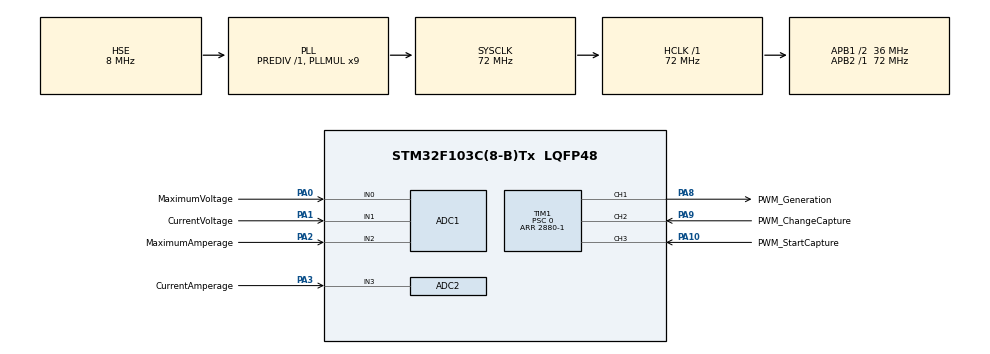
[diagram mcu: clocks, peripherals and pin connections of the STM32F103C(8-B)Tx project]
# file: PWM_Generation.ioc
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ADC1.Channel-0\#ChannelRegularConversion=ADC_CHANNEL_0
ADC1.Channel-1\#ChannelRegularConversion=ADC_CHANNEL_1
ADC1.Channel-2\#ChannelRegularConversion=ADC_CHANNEL_2
ADC1.ContinuousConvMode=ENABLE
ADC1.NbrOfConversion=3
ADC1.NbrOfConversionFlag=1
ADC1.Rank-0\#ChannelRegularConversion=1
ADC1.Rank-1\#ChannelRegularConversion=2
ADC1.Rank-2\#ChannelRegularConversion=3
ADC1.SamplingTime-0\#ChannelRegularConversion=ADC_SAMPLETIME_7CYCLES_5
ADC1.SamplingTime-1\#ChannelRegularConversion=ADC_SAMPLETIME_13CYCLES_5
ADC1.SamplingTime-2\#ChannelRegularConversion=ADC_SAMPLETIME_28CYCLES_5
ADC1.master=1
ADC2.Channel-1\#ChannelRegularConversion=ADC_CHANNEL_3
ADC2.Channel-2\#ChannelRegularConversion=ADC_CHANNEL_3
ADC2.Channel-3\#ChannelRegularConversion=ADC_CHANNEL_3
ADC2.ContinuousConvMode=ENABLE
ADC2.NbrOfConversion=3
ADC2.NbrOfConversionFlag=1
ADC2.Rank-1\#ChannelRegularConversion=1
ADC2.Rank-2\#ChannelRegularConversion=2
ADC2.Rank-3\#ChannelRegularConversion=3
ADC2.SamplingTime-1\#ChannelRegularConversion=ADC_SAMPLETIME_1CYCLE_5
ADC2.SamplingTime-2\#ChannelRegularConversion=ADC_SAMPLETIME_1CYCLE_5
ADC2.SamplingTime-3\#ChannelRegularConversion=ADC_SAMPLETIME_1CYCLE_5
Mcu.Family=STM32F1
Mcu.Name=STM32F103C(8-B)Tx
Mcu.Package=LQFP48
NVIC.PriorityGroup=NVIC_PRIORITYGROUP_4
NVIC.TIM1_BRK_IRQn=true\:0\:0\:false\:false\:true\:true\:true\:true
NVIC.TIM1_CC_IRQn=true\:0\:0\:false\:false\:true\:true\:true\:true
NVIC.TIM1_TRG_COM_IRQn=true\:0\:0\:false\:false\:true\:true\:true\:true
NVIC.TIM1_UP_IRQn=true\:0\:0\:false\:false\:true\:true\:true\:true
PA0-WKUP.GPIO_Label=MaximumVoltage
PA0-WKUP.Signal=ADCx_IN0
PA1.GPIO_Label=CurrentVoltage
PA1.Signal=ADCx_IN1
PA10.GPIO_Label=PWM_StartCapture
PA10.GPIO_PuPd=GPIO_PULLDOWN
PA10.Signal=S_TIM1_CH3
PA13.Mode=Serial_Wire
PA13.Signal=SYS_JTMS-SWDIO
PA14.Mode=Serial_Wire
PA14.Signal=SYS_JTCK-SWCLK
PA2.GPIO_Label=MaximumAmperage
PA2.Signal=ADCx_IN2
PA3.GPIO_Label=CurrentAmperage
PA3.Signal=ADCx_IN3
PA8.GPIO_Label=PWM_Generation
PA8.GPIO_Speed=GPIO_SPEED_FREQ_HIGH
PA8.Signal=S_TIM1_CH1
PA9.GPIO_Label=PWM_ChangeCapture
PA9.GPIO_PuPd=GPIO_PULLDOWN
PA9.Signal=S_TIM1_CH2
PD0-OSC_IN.Mode=HSE-External-Oscillator
PD0-OSC_IN.Signal=RCC_OSC_IN
PD1-OSC_OUT.Mode=HSE-External-Oscillator
PD1-OSC_OUT.Signal=RCC_OSC_OUT
ProjectManager.HeapSize=0x200
ProjectManager.StackSize=0x400
ProjectManager.TargetToolchain=STM32CubeIDE
RCC.ADCPresc=RCC_ADCPCLK2_DIV6
RCC.AHBFreq_Value=72000000
RCC.APB1CLKDivider=RCC_HCLK_DIV2
RCC.APB1Freq_Value=36000000
RCC.APB1TimFreq_Value=72000000
RCC.APB2Freq_Value=72000000
RCC.APB2TimFreq_Value=72000000
RCC.HCLKFreq_Value=72000000
RCC.PLLMUL=RCC_PLL_MUL9
RCC.PLLSourceVirtual=RCC_PLLSOURCE_HSE
RCC.SYSCLKFreq_VALUE=72000000
RCC.SYSCLKSource=RCC_SYSCLKSOURCE_PLLCLK
RCC.USBFreq_Value=72000000
SH.ADCx_IN0.0=ADC1_IN0,IN0
SH.ADCx_IN1.0=ADC1_IN1,IN1
SH.ADCx_IN2.0=ADC1_IN2,IN2
SH.ADCx_IN3.0=ADC2_IN3,IN3
SH.S_TIM1_CH1.0=TIM1_CH1,PWM Generation1 CH1
SH.S_TIM1_CH2.0=TIM1_CH2,Input_Capture2_from_TI2
SH.S_TIM1_CH3.0=TIM1_CH3,Input_Capture3_from_TI3
TIM1.AutoReloadPreload=TIM_AUTORELOAD_PRELOAD_ENABLE
TIM1.Channel-Input_Capture2_from_TI2=TIM_CHANNEL_2
TIM1.Channel-Input_Capture3_from_TI3=TIM_CHANNEL_3
TIM1.Channel-PWM\ Generation1\ CH1=TIM_CHANNEL_1
TIM1.ICPolarity_CH2=TIM_INPUTCHANNELPOLARITY_FALLING
TIM1.OCFastMode_PWM-PWM\ Generation1\ CH1=TIM_OCFAST_ENABLE
TIM1.Period=2880-1
TIM1.Prescaler=0
TIM1.Pulse-PWM\ Generation1\ CH1=3600
TIM2.AutoReloadPreload=TIM_AUTORELOAD_PRELOAD_ENABLE
TIM2.Prescaler=72-1
VP_TIM1_VS_ClockSourceINT.Mode=Internal
VP_TIM2_VS_ClockSourceINT.Mode=Internal
board=custom

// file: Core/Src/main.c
/* USER CODE BEGIN Header */
/**
  ******************************************************************************
  * @file           : main.c
  * @brief          : Main program body
  ******************************************************************************
  * @attention
  *
  * <h2><center>&copy; Copyright (c) 2022 STMicroelectronics.
  * All rights reserved.</center></h2>
  *
  * This software component is licensed by ST under BSD 3-Clause license,
  * the "License"; You may not use this file except in compliance with the
  * License. You may obtain a copy of the License at:
  *                        opensource.org/licenses/BSD-3-Clause
  *
  ******************************************************************************
  */
/* USER CODE END Header */
#include "main.h"

ADC_HandleTypeDef hadc1;
ADC_HandleTypeDef hadc2;

TIM_HandleTypeDef htim1;
TIM_HandleTypeDef htim2;

void SystemClock_Config(void);
static void MX_GPIO_Init(void);
static void MX_TIM1_Init(void);
static void MX_ADC1_Init(void);
static void MX_ADC2_Init(void);
static void MX_TIM2_Init(void);

/* USER CODE BEGIN 0 */

void Delay_us(uint16_t us) {
	__HAL_TIM_SET_COUNTER(&htim2, 0);
	while(__HAL_TIM_GET_COUNTER(&htim2) < us);
}

// CONVERT VOLTAGE LEVEL FROM 12 BIT TO VALUE BETWEEN 10000 AND 0
double convertCoefficient = 0.7026367188;
int convertLevel(int data) {
	return convertCoefficient*(double)data + 1;
}

// GET VALUE FROM "POTENTIOMETERS" IN SINGLE FROM MULTIPLE CHANNELS
uint16_t channel_count = 3;
uint16_t channels_array[3] = {ADC_CHANNEL_0, ADC_CHANNEL_1, ADC_CHANNEL_2};
int *getValue(ADC_HandleTypeDef *hadc, uint16_t* channels_array, uint16_t channel_count) {
	volatile static int answers[3] = {0, 0, 0};
	uint32_t sampling_time_array[3] = {ADC_SAMPLETIME_7CYCLES_5, ADC_SAMPLETIME_13CYCLES_5, ADC_SAMPLETIME_28CYCLES_5};
	for (int i = 0; i < channel_count; ++i) {
		ADC_ChannelConfTypeDef sConfig = {0};

		sConfig.Rank = ADC_REGULAR_RANK_1;
		sConfig.SamplingTime = sampling_time_array[i];
		sConfig.Channel = channels_array[i];

		if (HAL_ADC_ConfigChannel(&hadc1, &sConfig) != HAL_OK) Error_Handler();

		HAL_ADC_Start(&hadc1);
		HAL_ADC_PollForConversion(&hadc1, 100);
		answers[i] = HAL_ADC_GetValue(&hadc1);
		HAL_ADC_Stop(&hadc1);
	}
	return answers;
}

int maximumPWM_Level = 2860;
int minimumPWM_Level = 20;

double speed = 0.5;
double power = 0.1;

int PWM = 30;
int maximum_level = 20;

void HAL_TIM_IC_CaptureCallback(TIM_HandleTypeDef *htim) {
	if (htim->Channel == HAL_TIM_ACTIVE_CHANNEL_2) {
		// read maximum level of sine part from load
		HAL_ADC_PollForConversion(&hadc2, 0);
		int current_PWM = HAL_ADC_GetValue(&hadc2);
		maximum_level = (current_PWM > maximum_level) ? current_PWM : maximum_level;
	} else if (htim->Channel == HAL_TIM_ACTIVE_CHANNEL_3) {
		// 0 - max_voltage, 1-current_voltage, 2-max_amperage
		int *data_array = getValue(&hadc1, channels_array, channel_count);
		// update pwm, with amperage and voltage info
		int decrement = (data_array[2] > maximum_level) ? 0 : maximumPWM_Level*pow((double)(maximum_level-data_array[2])/4096.0, power);
		int new_PWM = PWM + speed*convertLevel(data_array[0] - data_array[1])-decrement;
		// reset current level state, in new loop
		maximum_level = minimumPWM_Level;
		// check if PWM in permissible level, if not - correcting
		new_PWM = (new_PWM >= minimumPWM_Level) ? new_PWM : minimumPWM_Level;
		new_PWM = (new_PWM <= maximumPWM_Level) ? new_PWM : maximumPWM_Level;

		if (abs(PWM - new_PWM) >= 1) {
			PWM = new_PWM;
			// apply changes
			TIM1->CCR1 = PWM;
			HAL_TIM_PWM_Start(&htim1, TIM_CHANNEL_1);
		}
	}
}

/* USER CODE END 0 */

int main(void)
{

  /* MCU Configuration--------------------------------------------------------*/

  /* Reset of all peripherals, Initializes the Flash interface and the Systick. */
  HAL_Init();

  /* Configure the system clock */
  SystemClock_Config();

  /* Initialize all configured peripherals */
  MX_GPIO_Init();
  MX_TIM1_Init();
  MX_ADC1_Init();
  MX_ADC2_Init();
  MX_TIM2_Init();
  /* USER CODE BEGIN 2 */
  HAL_ADC_Start(&hadc2);
  HAL_TIM_IC_Start_IT(&htim1, TIM_CHANNEL_2);
  HAL_TIM_IC_Start_IT(&htim1, TIM_CHANNEL_3);
  TIM1->CCR1 = PWM;
  HAL_TIM_PWM_Start(&htim1, TIM_CHANNEL_1);
  /* USER CODE END 2 */

  /* Infinite loop */
  while (1)
  {

  }
}

void SystemClock_Config(void)
{
  RCC_OscInitTypeDef RCC_OscInitStruct = {0};
  RCC_ClkInitTypeDef RCC_ClkInitStruct = {0};
  RCC_PeriphCLKInitTypeDef PeriphClkInit = {0};

  /** Initializes the RCC Oscillators according to the specified parameters
  * in the RCC_OscInitTypeDef structure.
  */
  RCC_OscInitStruct.OscillatorType = RCC_OSCILLATORTYPE_HSE;
  RCC_OscInitStruct.HSEState = RCC_HSE_ON;
  RCC_OscInitStruct.HSEPredivValue = RCC_HSE_PREDIV_DIV1;
  RCC_OscInitStruct.HSIState = RCC_HSI_ON;
  RCC_OscInitStruct.PLL.PLLState = RCC_PLL_ON;
  RCC_OscInitStruct.PLL.PLLSource = RCC_PLLSOURCE_HSE;
  RCC_OscInitStruct.PLL.PLLMUL = RCC_PLL_MUL9;
  if (HAL_RCC_OscConfig(&RCC_OscInitStruct) != HAL_OK)
  {
    Error_Handler();
  }
  /** Initializes the CPU, AHB and APB buses clocks
  */
  RCC_ClkInitStruct.ClockType = RCC_CLOCKTYPE_HCLK|RCC_CLOCKTYPE_SYSCLK
                              |RCC_CLOCKTYPE_PCLK1|RCC_CLOCKTYPE_PCLK2;
  RCC_ClkInitStruct.SYSCLKSource = RCC_SYSCLKSOURCE_PLLCLK;
  RCC_ClkInitStruct.AHBCLKDivider = RCC_SYSCLK_DIV1;
  RCC_ClkInitStruct.APB1CLKDivider = RCC_HCLK_DIV2;
  RCC_ClkInitStruct.APB2CLKDivider = RCC_HCLK_DIV1;

  if (HAL_RCC_ClockConfig(&RCC_ClkInitStruct, FLASH_LATENCY_2) != HAL_OK)
  {
    Error_Handler();
  }
  PeriphClkInit.PeriphClockSelection = RCC_PERIPHCLK_ADC;
  PeriphClkInit.AdcClockSelection = RCC_ADCPCLK2_DIV6;
  if (HAL_RCCEx_PeriphCLKConfig(&PeriphClkInit) != HAL_OK)
  {
    Error_Handler();
  }
}

static void MX_ADC1_Init(void)
{

  //ADC_ChannelConfTypeDef sConfig = {0};

  /** Common config
  */
  hadc1.Instance = ADC1;
  hadc1.Init.ScanConvMode = ADC_SCAN_ENABLE;
  hadc1.Init.ContinuousConvMode = ENABLE;
  hadc1.Init.DiscontinuousConvMode = DISABLE;
  hadc1.Init.ExternalTrigConv = ADC_SOFTWARE_START;
  hadc1.Init.DataAlign = ADC_DATAALIGN_RIGHT;
  hadc1.Init.NbrOfConversion = 1;
  if (HAL_ADC_Init(&hadc1) != HAL_OK)
  {
    Error_Handler();
  }

}

static void MX_ADC2_Init(void)
{

  ADC_ChannelConfTypeDef sConfig = {0};

  /** Common config
  */
  hadc2.Instance = ADC2;
  hadc2.Init.ScanConvMode = ADC_SCAN_ENABLE;
  hadc2.Init.ContinuousConvMode = ENABLE;
  hadc2.Init.DiscontinuousConvMode = DISABLE;
  hadc2.Init.ExternalTrigConv = ADC_SOFTWARE_START;
  hadc2.Init.DataAlign = ADC_DATAALIGN_RIGHT;
  hadc2.Init.NbrOfConversion = 3;
  if (HAL_ADC_Init(&hadc2) != HAL_OK)
  {
    Error_Handler();
  }
  /** Configure Regular Channel
  */
  sConfig.Channel = ADC_CHANNEL_3;
  sConfig.Rank = ADC_REGULAR_RANK_1;
  sConfig.SamplingTime = ADC_SAMPLETIME_1CYCLE_5;
  if (HAL_ADC_ConfigChannel(&hadc2, &sConfig) != HAL_OK)
  {
    Error_Handler();
  }
  /** Configure Regular Channel
  */
  sConfig.Rank = ADC_REGULAR_RANK_2;
  if (HAL_ADC_ConfigChannel(&hadc2, &sConfig) != HAL_OK)
  {
    Error_Handler();
  }
  /** Configure Regular Channel
  */
  sConfig.Rank = ADC_REGULAR_RANK_3;
  if (HAL_ADC_ConfigChannel(&hadc2, &sConfig) != HAL_OK)
  {
    Error_Handler();
  }

}

static void MX_TIM1_Init(void)
{

  TIM_ClockConfigTypeDef sClockSourceConfig = {0};
  TIM_MasterConfigTypeDef sMasterConfig = {0};
  TIM_OC_InitTypeDef sConfigOC = {0};
  TIM_IC_InitTypeDef sConfigIC = {0};
  TIM_BreakDeadTimeConfigTypeDef sBreakDeadTimeConfig = {0};

  htim1.Instance = TIM1;
  htim1.Init.Prescaler = 0;
  htim1.Init.CounterMode = TIM_COUNTERMODE_UP;
  htim1.Init.Period = 2880-1;
  htim1.Init.ClockDivision = TIM_CLOCKDIVISION_DIV1;
  htim1.Init.RepetitionCounter = 0;
  htim1.Init.AutoReloadPreload = TIM_AUTORELOAD_PRELOAD_ENABLE;
  if (HAL_TIM_Base_Init(&htim1) != HAL_OK)
  {
    Error_Handler();
  }
  sClockSourceConfig.ClockSource = TIM_CLOCKSOURCE_INTERNAL;
  if (HAL_TIM_ConfigClockSource(&htim1, &sClockSourceConfig) != HAL_OK)
  {
    Error_Handler();
  }
  if (HAL_TIM_PWM_Init(&htim1) != HAL_OK)
  {
    Error_Handler();
  }
  if (HAL_TIM_IC_Init(&htim1) != HAL_OK)
  {
    Error_Handler();
  }
  sMasterConfig.MasterOutputTrigger = TIM_TRGO_RESET;
  sMasterConfig.MasterSlaveMode = TIM_MASTERSLAVEMODE_DISABLE;
  if (HAL_TIMEx_MasterConfigSynchronization(&htim1, &sMasterConfig) != HAL_OK)
  {
    Error_Handler();
  }
  sConfigOC.OCMode = TIM_OCMODE_PWM1;
  sConfigOC.Pulse = 3600;
  sConfigOC.OCPolarity = TIM_OCPOLARITY_HIGH;
  sConfigOC.OCNPolarity = TIM_OCNPOLARITY_HIGH;
  sConfigOC.OCFastMode = TIM_OCFAST_ENABLE;
  sConfigOC.OCIdleState = TIM_OCIDLESTATE_RESET;
  sConfigOC.OCNIdleState = TIM_OCNIDLESTATE_RESET;
  if (HAL_TIM_PWM_ConfigChannel(&htim1, &sConfigOC, TIM_CHANNEL_1) != HAL_OK)
  {
    Error_Handler();
  }
  sConfigIC.ICPolarity = TIM_INPUTCHANNELPOLARITY_FALLING;
  sConfigIC.ICSelection = TIM_ICSELECTION_DIRECTTI;
  sConfigIC.ICPrescaler = TIM_ICPSC_DIV1;
  sConfigIC.ICFilter = 0;
  if (HAL_TIM_IC_ConfigChannel(&htim1, &sConfigIC, TIM_CHANNEL_2) != HAL_OK)
  {
    Error_Handler();
  }
  sConfigIC.ICPolarity = TIM_INPUTCHANNELPOLARITY_RISING;
  if (HAL_TIM_IC_ConfigChannel(&htim1, &sConfigIC, TIM_CHANNEL_3) != HAL_OK)
  {
    Error_Handler();
  }
  sBreakDeadTimeConfig.OffStateRunMode = TIM_OSSR_DISABLE;
  sBreakDeadTimeConfig.OffStateIDLEMode = TIM_OSSI_DISABLE;
  sBreakDeadTimeConfig.LockLevel = TIM_LOCKLEVEL_OFF;
  sBreakDeadTimeConfig.DeadTime = 0;
  sBreakDeadTimeConfig.BreakState = TIM_BREAK_DISABLE;
  sBreakDeadTimeConfig.BreakPolarity = TIM_BREAKPOLARITY_HIGH;
  sBreakDeadTimeConfig.AutomaticOutput = TIM_AUTOMATICOUTPUT_DISABLE;
  if (HAL_TIMEx_ConfigBreakDeadTime(&htim1, &sBreakDeadTimeConfig) != HAL_OK)
  {
    Error_Handler();
  }
  HAL_TIM_MspPostInit(&htim1);

}

static void MX_TIM2_Init(void)
{

  TIM_ClockConfigTypeDef sClockSourceConfig = {0};
  TIM_MasterConfigTypeDef sMasterConfig = {0};

  htim2.Instance = TIM2;
  htim2.Init.Prescaler = 72-1;
  htim2.Init.CounterMode = TIM_COUNTERMODE_UP;
  htim2.Init.Period = 65535;
  htim2.Init.ClockDivision = TIM_CLOCKDIVISION_DIV1;
  htim2.Init.AutoReloadPreload = TIM_AUTORELOAD_PRELOAD_ENABLE;
  if (HAL_TIM_Base_Init(&htim2) != HAL_OK)
  {
    Error_Handler();
  }
  sClockSourceConfig.ClockSource = TIM_CLOCKSOURCE_INTERNAL;
  if (HAL_TIM_ConfigClockSource(&htim2, &sClockSourceConfig) != HAL_OK)
  {
    Error_Handler();
  }
  sMasterConfig.MasterOutputTrigger = TIM_TRGO_RESET;
  sMasterConfig.MasterSlaveMode = TIM_MASTERSLAVEMODE_DISABLE;
  if (HAL_TIMEx_MasterConfigSynchronization(&htim2, &sMasterConfig) != HAL_OK)
  {
    Error_Handler();
  }

}

static void MX_GPIO_Init(void)
{

  /* GPIO Ports Clock Enable */
  __HAL_RCC_GPIOD_CLK_ENABLE();
  __HAL_RCC_GPIOA_CLK_ENABLE();

}

void Error_Handler(void)
{
  __disable_irq();
  while (1)
  {
  }
}

/************************ (C) COPYRIGHT STMicroelectronics *****END OF FILE****/
